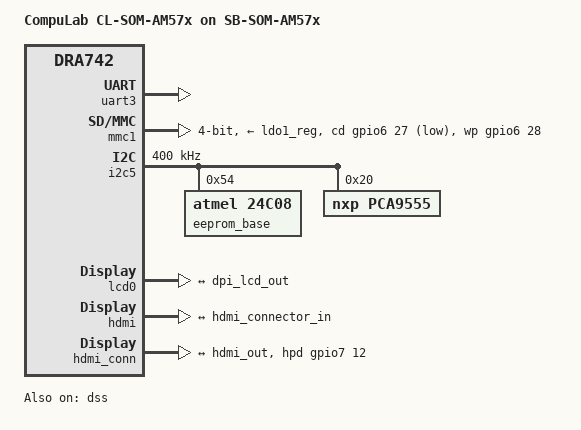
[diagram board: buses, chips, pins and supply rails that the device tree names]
// SPDX-License-Identifier: GPL-2.0-only
/*
 * Support for CompuLab SBC-AM57x single board computer
 *
 * Copyright (C) 2015 CompuLab Ltd. - https://www.compulab.co.il/
 * Author: Dmitry Lifshitz <lifshitz@compulab.co.il>
 */

#include "am57xx-cl-som-am57x.dts"
#include "compulab-sb-som.dtsi"

/ {
	model = "CompuLab CL-SOM-AM57x on SB-SOM-AM57x";
	compatible = "compulab,sbc-am57x", "compulab,cl-som-am57x", "ti,am5728", "ti,dra742", "ti,dra74", "ti,dra7";

	aliases {
		display0 = &lcd0;
		display1 = &hdmi;
	};
};

&dra7_pmx_core {
	uart3_pins_default: uart3-default-pins {
		pinctrl-single,pins = <
			DRA7XX_CORE_IOPAD(0x3648, PIN_INPUT_SLEW | MUX_MODE0)	/* uart3_rxd */
			DRA7XX_CORE_IOPAD(0x364c, PIN_INPUT_SLEW | MUX_MODE0)	/* uart3_txd */
		>;
	};

	mmc1_pins_default: mmc1-default-pins {
		pinctrl-single,pins = <
			DRA7XX_CORE_IOPAD(0x3754, PIN_INPUT_PULLUP | MUX_MODE0) /* mmc1_clk.clk */
			DRA7XX_CORE_IOPAD(0x3758, PIN_INPUT_PULLUP | MUX_MODE0)	/* mmc1_cmd.cmd */
			DRA7XX_CORE_IOPAD(0x375c, PIN_INPUT_PULLUP | MUX_MODE0) /* mmc1_dat0.dat0 */
			DRA7XX_CORE_IOPAD(0x3760, PIN_INPUT_PULLUP | MUX_MODE0) /* mmc1_dat1.dat1 */
			DRA7XX_CORE_IOPAD(0x3764, PIN_INPUT_PULLUP | MUX_MODE0) /* mmc1_dat2.dat2 */
			DRA7XX_CORE_IOPAD(0x3768, PIN_INPUT_PULLUP | MUX_MODE0) /* mmc1_dat3.dat3 */
			DRA7XX_CORE_IOPAD(0x376c, PIN_INPUT | MUX_MODE14)	/* mmc1_sdcd.gpio6_27 */
			DRA7XX_CORE_IOPAD(0x377c, PIN_INPUT | MUX_MODE14)	/* mmc1_sdwp.gpio6_28 */
		>;
	};

	usb1_pins: usb1-pins {
		pinctrl-single,pins = <
			DRA7XX_CORE_IOPAD(0x3680, PIN_INPUT_SLEW | MUX_MODE0) /* usb1_drvvbus */
		>;
	};

	i2c5_pins_default: i2c5-default-pins {
		pinctrl-single,pins = <
			DRA7XX_CORE_IOPAD(0x36b4, PIN_INPUT| MUX_MODE10)	/* mcasp1_axr0.i2c5_sda */
			DRA7XX_CORE_IOPAD(0x36b8, PIN_INPUT| MUX_MODE10)	/* mcasp1_axr1.i2c5_scl */
		>;
	};

	lcd_pins_default: lcd-default-pins {
		pinctrl-single,pins = <
			DRA7XX_CORE_IOPAD(0x3564, PIN_OUTPUT | MUX_MODE14)      /* vin2a_vsync0.gpio4_0 */
		>;
	};

	hdmi_pins: hdmi-pins {
		pinctrl-single,pins = <
			DRA7XX_CORE_IOPAD(0x3808, PIN_INPUT | MUX_MODE1)	/* i2c2_sda.hdmi1_ddc_scl */
			DRA7XX_CORE_IOPAD(0x380c, PIN_INPUT | MUX_MODE1)	/* i2c2_scl.hdmi1_ddc_sda */
		>;
	};

	hdmi_conn_pins: hdmi-conn-pins {
		pinctrl-single,pins = <
			DRA7XX_CORE_IOPAD(0x37b8, PIN_INPUT | MUX_MODE14)	/* spi1_cs2.gpio7_12 */
		>;
	};
};

&uart3 {
	status = "okay";
	interrupts-extended = <&crossbar_mpu GIC_SPI 69 IRQ_TYPE_LEVEL_HIGH>,
			      <&dra7_pmx_core 0x3f8>;

	pinctrl-names = "default";
	pinctrl-0 = <&uart3_pins_default>;
};

&mmc1 {
	status = "okay";

	pinctrl-names = "default";
	pinctrl-0 = <&mmc1_pins_default>;

	vmmc-supply = <&ldo1_reg>;
	bus-width = <4>;
	cd-gpios = <&gpio6 27 GPIO_ACTIVE_LOW>;
	wp-gpios = <&gpio6 28 GPIO_ACTIVE_HIGH>;
};

&usb1 {
	pinctrl-names = "default";
	pinctrl-0 = <&usb1_pins>;
};

&i2c5 {
	status = "okay";
	pinctrl-names = "default";
	pinctrl-0 = <&i2c5_pins_default>;
	clock-frequency = <400000>;

	eeprom_base: eeprom@54 {
		compatible = "atmel,24c08";
		reg = <0x54>;
		pagesize = <16>;
	};

	pca9555: pca9555@20 {
		compatible = "nxp,pca9555";
		reg = <0x20>;
		gpio-controller;
		#gpio-cells = <2>;
	};
};

&dss {
	status = "okay";

	vdda_video-supply = <&ldoln_reg>;

	port {
		dpi_lcd_out: endpoint {
			remote-endpoint = <&lcd_in>;
			data-lines = <24>;
		};
	};
};

&lcd0 {
	pinctrl-names = "default";
	pinctrl-0 = <&lcd_pins_default>;

	enable-gpios = <&pca9555 14 GPIO_ACTIVE_HIGH
			&gpio4 0 GPIO_ACTIVE_HIGH>;

	port {
		lcd_in: endpoint {
			remote-endpoint = <&dpi_lcd_out>;
			data-lines = <24>;
		};
	};
};

&hdmi {
	status = "okay";
	vdda-supply = <&ldo4_reg>;

	pinctrl-names = "default";
	pinctrl-0 = <&hdmi_pins>;

	port {
		hdmi_out: endpoint {
			remote-endpoint = <&hdmi_connector_in>;
			lanes = <1 0 3 2 5 4 7 6>;
		};
	};
};

&hdmi_conn {
	pinctrl-names = "default";
	pinctrl-0 = <&hdmi_conn_pins>;

	hpd-gpios = <&gpio7 12 GPIO_ACTIVE_HIGH>;

	port {
		hdmi_connector_in: endpoint {
			remote-endpoint = <&hdmi_out>;
		};
	};
};
